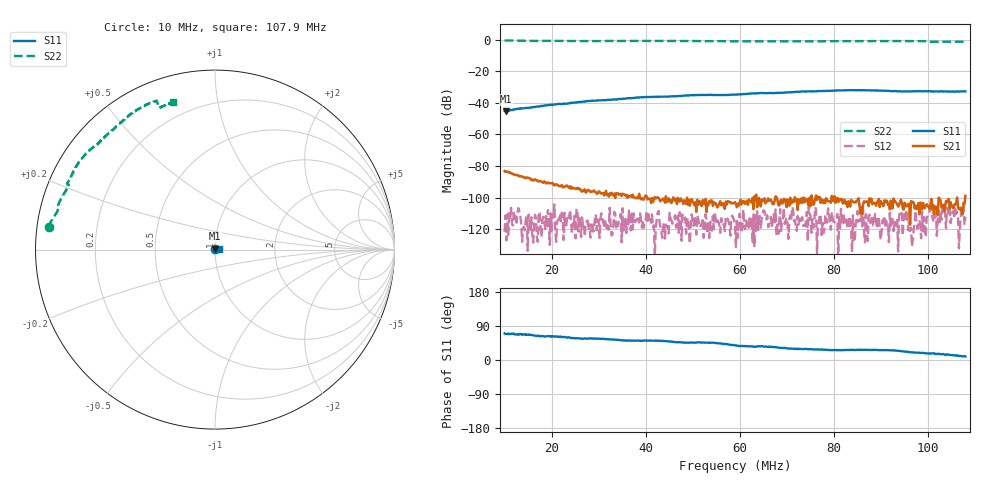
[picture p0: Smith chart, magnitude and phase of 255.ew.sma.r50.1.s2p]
! Anritsu VNA Master:  Model: MS2036C/10/77
! SN:  1601066
! /card0/usr/255.ew.sma.r50.1.s2p
! Existing Calibration Information:
! TYPE:  Current Settings,  Active Cal Settings
! TIME:  12/17/2017 05:54:59 PM,  12/17/2017 05:44:58 PM
! INTERNAL TEMP:  44.0 C,  43.8 C
! # POINTS:  501,  501
! START FREQ:  10.000 MHz,  10.000 MHz
! STOP FREQ:  107.903 125 MHz,  107.903 125 MHz
! SOURCE POWER:  High,  High
! IFBW:  100 Hz,  100 Hz
! AVG FACTOR:  1 ,  1
! REF PLANE 1:  0 mm,  0 mm
! REF PLANE 2:  0 mm,  0 mm
! CAL TYPE:  Full S11,  Full S11
! CAL METHOD:  SOLT,  SOLT
! CAL LINE TYPE:  Coax,  Coax
! DUT PORT 1:  K-Conn(F),  K-Conn(F)
! DUT PORT 2:  K-Conn(F),  K-Conn(F)
! CAL STATUS:  OK: Accuracy High,  --
# GHZ S DB R 50.0
! FREQ.GHZ  S11DB  S11A  S21DB  S21A  S12DB  S12A  S22DB  S22A
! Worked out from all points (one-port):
!   501 points, 10 MHz to 107.9 MHz, reference 50 ohm
!   lowest |S11| = -45.4 dB at 10.2 MHz (marker M1), VSWR 1.01, Z = 50.2 + j0.502 ohm
!   |S11| at or under -10 dB: start of sweep to end of sweep
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0.01  -45.10 70.2  -83.13 78.5  -121.55 123.1  -0.59 172.3
0.01019581  -45.42 69.0  -83.64 75.4  -111.16 -139.4  -0.61 171.8
0.01058742  -44.92 68.3  -83.78 72.6  -110.40 169.5  -0.61 171.5
0.01293709  -43.70 66.4  -85.82 63.2  -106.56 51.7  -0.71 169.3
0.01548258  -43.05 66.8  -88.21 48.8  -121.61 37.9  -0.85 167.0
0.01959451  -41.33 62.4  -90.70 38.9  -129.78 42.2  -0.85 163.5
0.02331483  -40.51 59.0  -92.35 29.5  -111.24 67.8  -0.93 160.6
0.02644772  -39.31 56.0  -96.24 20.6  -112.48 -119.8  -0.98 158.6
0.0381961  -36.67 51.1  -99.50 17.0  -113.87 -51.1  -0.89 151.1
0.04269964  -36.23 51.3  -100.06 30.5  -108.27 59.5  -0.91 147.6
0.05131512  -35.08 46.6  -101.96 -0.2  -116.26 99.3  -0.97 142.2
0.05601447  -35.16 43.3  -104.74 6.7  -112.91 92.8  -1.06 139.6
0.05914737  -34.86 38.6  -103.85 17.3  -131.21 143.0  -1.11 138.1
0.06443414  -33.80 36.1  -105.46 -6.0  -119.75 106.0  -1.10 135.2
0.06717542  -33.84 34.3  -103.91 1.8  -110.37 82.4  -1.12 133.2
0.07539929  -32.78 28.0  -101.93 -3.0  -113.72 70.9  -1.09 127.5
0.08303573  -32.10 26.7  -102.13 -23.6  -119.36 37.7  -1.03 121.9
0.09165121  -32.47 25.7  -103.95 -43.5  -127.99 132.2  -0.97 116.5
0.0945883  -32.78 22.8  -106.35 -39.6  -123.88 163.7  -0.97 114.5
0.09928765  -32.66 17.5  -106.61 -47.4  -117.39 166.4  -1.01 111.5
0.1002667  -32.68 17.0  -107.19 -29.0  -108.83 -9.8  -1.43 111.0
0.1079031  -32.78 9.2  -98.82 -40.2  -112.15 -64.9  -1.34 105.8
